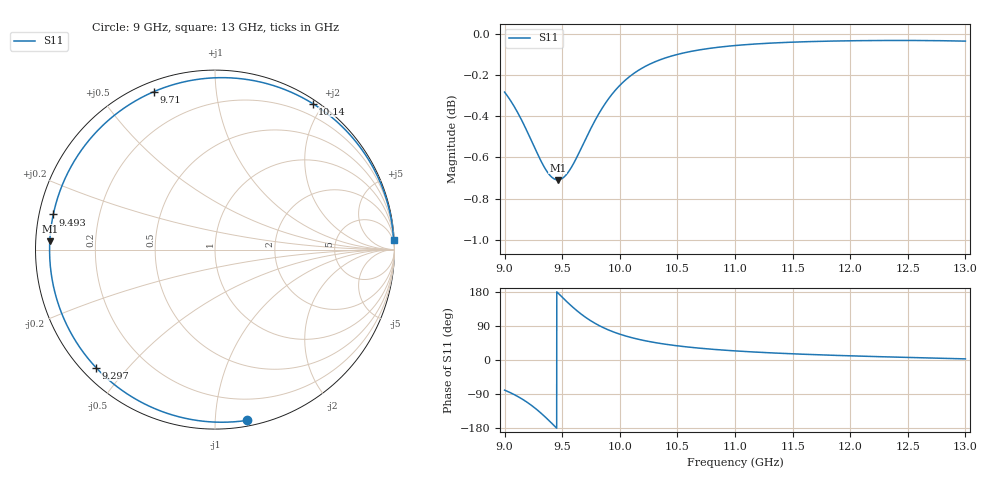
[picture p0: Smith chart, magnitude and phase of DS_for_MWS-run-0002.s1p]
! TOUCHSTONE file generated by CST DESIGN STUDIO
! Date and time: Wed Feb  5 13:42:15 2025
! Project name: C:\Work\MatlabApps\UnitCellOptimizationMatlab\CST\unitcell.cst
! Tree item: Tasks\Sweep1\SPara1\S-Parameters
! Header version: 2024
! Port assignment regex: !\s*Touchstone port\s*([0-9]+)\s*=\s*(CST MWS port|CST DES external port|CST DES block port)\s*(.+)\s* \(\"(.*)\"\)(\s*mode\s*([0-9]+))?.*
! Touchstone port assignment:
! Touchstone port 1 = CST DES external port 1 ("")
# GHz S MA R 50
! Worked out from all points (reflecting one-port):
!   4001 points, 9 GHz to 13 GHz, reference 50 ohm
!   lowest |S11| = -0.7 dB at 9.462 GHz (marker M1), VSWR 24.51, Z = 2.04 + j1.25 ohm
!   phase of S11 starts at -80 deg and turns -277 deg over the sweep
!   S11 on the Smith chart (normalised r, x): 9 GHz: 0.04, -1.20; 9.297 GHz: 0.04, -0.41; 9.493 GHz: 0.04, +0.11; 9.71 GHz: 0.04, +0.69; 10.14 GHz: 0.05, +1.87; 13 GHz: 3, +39
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9  0.968 -79.5
9.093  0.9592 -92.8
9.167  0.9506 -105.8
9.234  0.9419 -119.9
9.297  0.9337 -135.3
9.34  0.9287 -146.8
9.386  0.9245 -160.0
9.425  0.9223 -171.7
9.462  0.9216 177.1
9.493  0.9221 167.8
9.5  0.9223 165.7
9.55  0.9254 151.0
9.607  0.931 135.4
9.658  0.9372 122.7
9.71  0.9437 111.1
9.766  0.9506 100.2
9.83  0.9576 89.4
9.913  0.9653 77.9
10  0.9717 68.2
10.139  0.9789 56.2
10.302  0.9845 46.2
10.5  0.9886 37.4
10.722  0.9915 30.4
11  0.9936 24.0
11.5  0.9954 16.3
12  0.9962 11.0
12.5  0.9964 6.8
13  0.996 3.0
